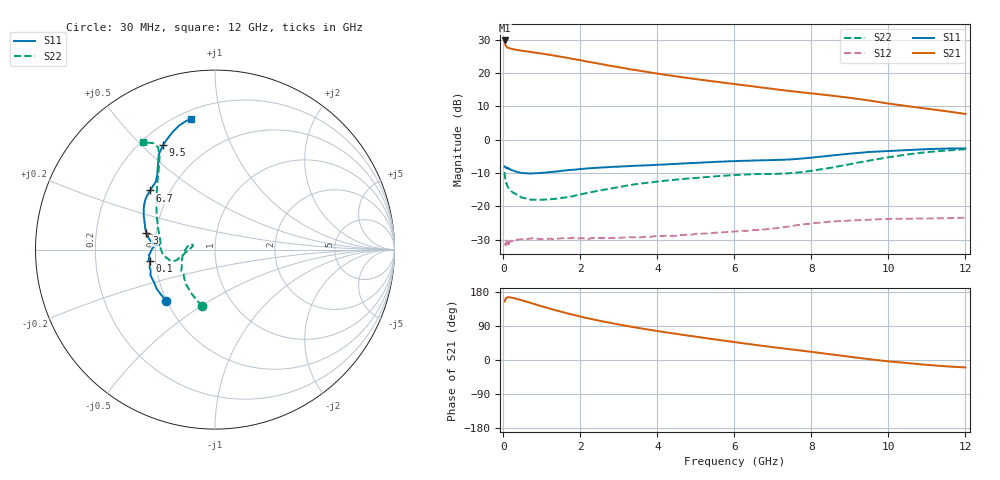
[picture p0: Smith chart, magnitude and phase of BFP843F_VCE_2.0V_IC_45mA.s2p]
! Infineon Technologies  Discrete & RF Semiconductors
! BFP843F
! VCE =  2.0 V,  IC =  45 mA
! Common Emitter S-Parameters:  Aug 2013
# GHz  S  MA  R  50
!  f  S11  S21  S12  S22
! GHz  MAG  ANG  MAG  ANG  MAG  ANG  MAG  ANG
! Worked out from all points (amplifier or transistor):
!   103 points, 30 MHz to 12 GHz, reference 50 ohm
!   highest |S21| = 29.8 dB at 30 MHz (marker M1)
!   |S21| within 3 dB of that: start of sweep to 431.2 MHz
!   unconditionally stable (mu >= 1): 90.3 MHz to end of sweep
!   at 400 MHz: K = 1.03, MAG = 27.4 dB, |S12| = -30.0 dB
!   at 3.7 GHz: K = 1.28, MAG = 21.5 dB, |S12| = -29.1 dB
!   at 12 GHz: K = 1.13, MAG = 13.4 dB, |S12| = -23.4 dB
!   S11 on the Smith chart (normalised r, x): 30 MHz: 0.50, -0.34; 100 MHz: 0.46, -0.07; 3 GHz: 0.44, +0.10; 6.7 GHz: 0.39, +0.34; 9.5 GHz: 0.29, +0.58; 12 GHz: 0.25, +0.80
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0.03  0.3951 -133.5  30.75 154.3  0.027 26.2  0.325 -102.9
0.04  0.3921 -145.6  28.02 156.7  0.0273 20.2  0.2795 -117.4
0.05  0.3851 -152.0  26.44 160.3  0.0266 12.3  0.2538 -128.8
0.07  0.377 -161.9  25.04 163.2  0.0277 19.7  0.2221 -142.0
0.1  0.3693 -169.8  24.18 165.0  0.0275 11.0  0.2 -157.5
0.14  0.3702 -175.5  23.58 165.6  0.0252 13.5  0.1841 -168.8
0.2  0.3523 179.7  23.05 164.9  0.0305 7.4  0.1699 -177.8
0.9  0.3143 175.5  19.9 144.6  0.0324 7.1  0.1253 168.5
1.2  0.3255 175.6  18.73 135.8  0.0327 7.1  0.1273 172.0
1.6  0.3447 174.3  17.1 124.7  0.0332 7.6  0.1355 177.2
2.1  0.3662 171.6  15.14 112.2  0.0331 8.9  0.1549 -177.3
2.5  0.3803 169.2  13.71 103.4  0.0334 11.1  0.1719 -172.6
3  0.3929 166.3  12.18 93.7  0.0336 14.4  0.1943 -167.8
3.5  0.4073 163.0  10.89 84.7  0.0338 16.6  0.2166 -165.1
4.1  0.4219 158.7  9.602 74.9  0.0356 19.2  0.2379 -164.6
5  0.4475 152.5  8.104 61.5  0.0388 23.5  0.266 -168.4
6.1  0.4784 144.0  6.717 45.9  0.0422 27.1  0.2958 -177.3
6.7  0.4897 137.7  6.061 37.8  0.0445 29.1  0.3043 176.9
8.5  0.5754 123.4  4.59 15.0  0.0589 27.5  0.3782 149.3
9.5  0.6522 116.2  3.865 2.1  0.0629 22.9  0.4847 131.7
10.5  0.6966 109.8  3.175 -8.2  0.0651 19.7  0.6 121.0
12  0.7395 100.2  2.43 -19.7  0.0674 18.8  0.7181 123.7
